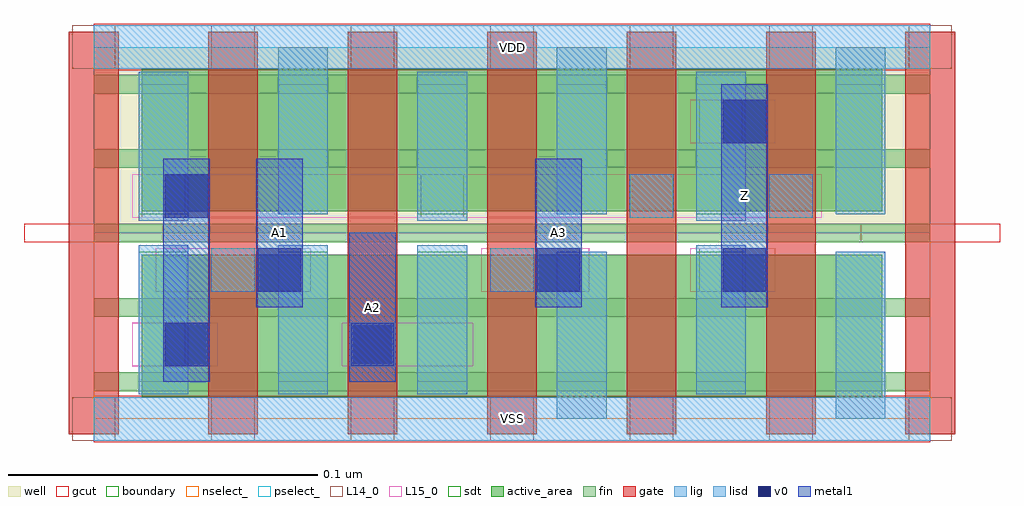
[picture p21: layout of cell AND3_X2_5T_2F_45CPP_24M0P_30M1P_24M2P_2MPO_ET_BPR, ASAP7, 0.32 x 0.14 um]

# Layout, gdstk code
import gdstk
lib = gdstk.Library(unit=1e-6, precision=2.5e-10)
def R(c, l, rs):  # rectangles x0, y0, x1, y1
    for r in rs: c.add(gdstk.rectangle(r[:2], r[2:], *l))
def A(c, l, x, y, w, h, nx, ny, dx, dy):  # array of equal rectangles
    R(c, l, [(x+i*dx, y+j*dy, x+i*dx+w, y+j*dy+h) for i in range(nx) for j in range(ny)])
well = (1, 0)
fin = (2, 0)
gate = (7, 0)
gcut = (10, 0)
active_area = (11, 0)
nselect_ = (12, 0)
pselect_ = (13, 0)
L14_0 = (14, 0)
L15_0 = (15, 0)
lig = (16, 0)
lisd = (17, 0)
v0 = (18, 0)
metal1 = (19, 0)
sdt = (88, 0)
boundary = (100, 0)

and3_x2_5t_2f_45cpp_24m0 = lib.new_cell('AND3_X2_5T_2F_45CPP_24M0P_30M1P_24M2P_2MPO_ET_BPR')
R(and3_x2_5t_2f_45cpp_24m0, well, [(0,0.06,0.27,0.12)])
A(and3_x2_5t_2f_45cpp_24m0, fin, 0, 0.009, 0.27, 0.006, 1, 5, 0, 0.024)
A(and3_x2_5t_2f_45cpp_24m0, gate, -0.008, -0.005, 0.016, 0.13, 7, 1, 0.045, 0)
R(and3_x2_5t_2f_45cpp_24m0, gcut, [(0,-0.0075,0.27,0.0075), (-0.0225,0.057,0.0225,0.063), (0.2475,0.057,0.2925,0.063), (0,0.1125,0.27,0.1275)])
A(and3_x2_5t_2f_45cpp_24m0, active_area, 0.0155, 0.007, 0.059, 0.046, 3, 2, 0.045, 0.06)
R(and3_x2_5t_2f_45cpp_24m0, active_area, [(0.1505,0.007,0.2545,0.053), (0.1505,0.067,0.2545,0.113)])
R(and3_x2_5t_2f_45cpp_24m0, nselect_, [(0,0,0.27,0.06)])
R(and3_x2_5t_2f_45cpp_24m0, pselect_, [(0,0.06,0.27,0.12)])
A(and3_x2_5t_2f_45cpp_24m0, L14_0, -0.007, -0.007, 0.014, 0.014, 7, 2, 0.045, 0.12)
R(and3_x2_5t_2f_45cpp_24m0, L14_0, [(0.0155,0.017,0.0295,0.031), (0.083,0.017,0.097,0.031), (0.038,0.041,0.052,0.055), (0.128,0.041,0.142,0.055), (0.1955,0.041,0.2095,0.055), (0.0155,0.065,0.0295,0.079), (0.1055,0.065,0.1195,0.079), (0.173,0.065,0.187,0.079), (0.218,0.065,0.232,0.079), (0.1955,0.089,0.2095,0.103)])
R(and3_x2_5t_2f_45cpp_24m0, L15_0, [(0,-0.007,0.27,0.007), (0.0125,0.017,0.04,0.031), (0.08,0.017,0.1225,0.031), (0.02,0.041,0.07,0.055), (0.125,0.041,0.16,0.055), (0.1925,0.041,0.22,0.055), (0.0125,0.065,0.235,0.079), (0.1925,0.089,0.22,0.103), (0,0.113,0.27,0.127)])
R(and3_x2_5t_2f_45cpp_24m0, lig, [(0,-0.007,0.27,0.007), (0.083,0.017,0.097,0.031), (0.038,0.041,0.052,0.055), (0.128,0.041,0.142,0.055), (0.173,0.065,0.187,0.079), (0.218,0.065,0.232,0.079), (0,0.113,0.27,0.127)])
A(and3_x2_5t_2f_45cpp_24m0, lisd, 0.0145, 0.008, 0.016, 0.048, 3, 1, 0.045, 0)
A(and3_x2_5t_2f_45cpp_24m0, lisd, 0.0145, 0.064, 0.016, 0.048, 3, 1, 0.09, 0)
A(and3_x2_5t_2f_45cpp_24m0, lisd, 0.0595, 0.066, 0.016, 0.054, 3, 1, 0.09, 0)
R(and3_x2_5t_2f_45cpp_24m0, lisd, [(0.1495,0,0.1655,0.054), (0.2395,0,0.2555,0.054), (0.1945,0.008,0.2105,0.056)])
R(and3_x2_5t_2f_45cpp_24m0, v0, [(0.023,0.017,0.037,0.031), (0.083,0.017,0.097,0.031), (0.053,0.041,0.067,0.055), (0.143,0.041,0.157,0.055), (0.203,0.041,0.217,0.055), (0.023,0.065,0.037,0.079), (0.203,0.089,0.217,0.103)])
R(and3_x2_5t_2f_45cpp_24m0, metal1, [(0.0225,0.012,0.0375,0.084), (0.0825,0.012,0.0975,0.06), (0.0525,0.036,0.0675,0.084), (0.1425,0.036,0.1575,0.084), (0.2025,0.036,0.2175,0.108)])
A(and3_x2_5t_2f_45cpp_24m0, sdt, 0.0145, 0.012, 0.016, 0.042, 6, 2, 0.045, 0.054)
R(and3_x2_5t_2f_45cpp_24m0, boundary, [(0,0,0.27,0.12)])
and3_x2_5t_2f_45cpp_24m0.add(gdstk.Label('Z', (0.21,0.072), layer=19, texttype=251))
and3_x2_5t_2f_45cpp_24m0.add(gdstk.Label('A3', (0.15,0.06), layer=19, texttype=251))
and3_x2_5t_2f_45cpp_24m0.add(gdstk.Label('A1', (0.06,0.06), layer=19, texttype=251))
and3_x2_5t_2f_45cpp_24m0.add(gdstk.Label('A2', (0.09,0.036), layer=19, texttype=251))
and3_x2_5t_2f_45cpp_24m0.add(gdstk.Label('VDD', (0.135,0.12), layer=15, texttype=251))
and3_x2_5t_2f_45cpp_24m0.add(gdstk.Label('VSS', (0.135,0), layer=15, texttype=251))
and3_x2_5t_2f_45cpp_24m0.add(gdstk.Label('VDD', (0.135,0.12), layer=1, texttype=251))
and3_x2_5t_2f_45cpp_24m0.add(gdstk.Label('VSS', (0.135,0), layer=3, texttype=251))

lib.write_gds('AND3_X2_5T_2F_45CPP_24M0P_30M1P_24M2P_2MPO_ET_BPR.gds')
